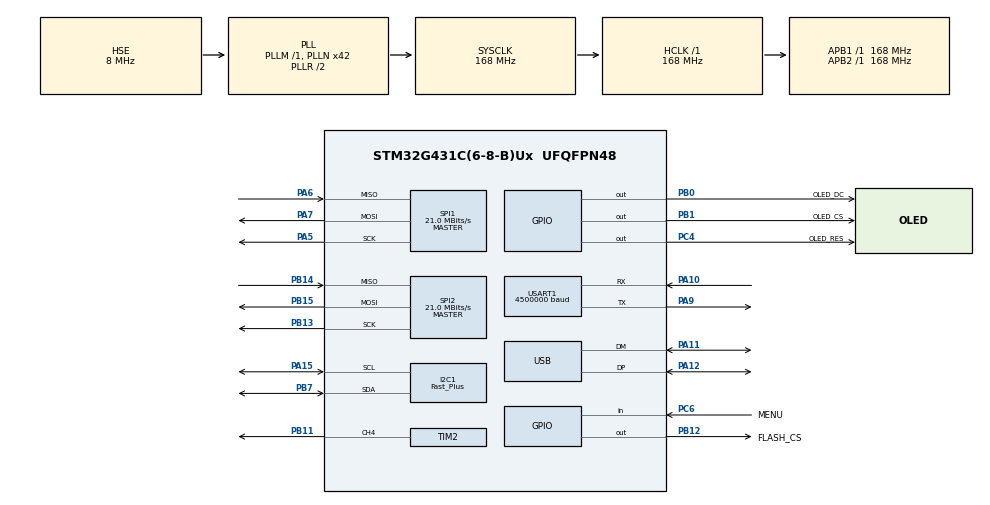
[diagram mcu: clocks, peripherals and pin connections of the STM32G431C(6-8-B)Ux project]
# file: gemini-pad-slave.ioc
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ADC1.Channel-0\#ChannelRegularConversion=ADC_CHANNEL_TEMPSENSOR_ADC1
ADC1.NbrOfConversionFlag=1
ADC1.OffsetNumber-0\#ChannelRegularConversion=ADC_OFFSET_NONE
ADC1.Rank-0\#ChannelRegularConversion=1
ADC1.SamplingTime-0\#ChannelRegularConversion=ADC_SAMPLETIME_2CYCLES_5
ADC1.master=1
Dma.Request0=USART1_RX
Dma.Request1=USART1_TX
Dma.USART1_RX.0.Direction=DMA_PERIPH_TO_MEMORY
Dma.USART1_RX.0.EventEnable=DISABLE
Dma.USART1_RX.0.Instance=DMA1_Channel1
Dma.USART1_RX.0.MemDataAlignment=DMA_MDATAALIGN_BYTE
Dma.USART1_RX.0.MemInc=DMA_MINC_ENABLE
Dma.USART1_RX.0.Mode=DMA_NORMAL
Dma.USART1_RX.0.PeriphDataAlignment=DMA_PDATAALIGN_BYTE
Dma.USART1_RX.0.PeriphInc=DMA_PINC_DISABLE
Dma.USART1_RX.0.Polarity=HAL_DMAMUX_REQ_GEN_RISING
Dma.USART1_RX.0.Priority=DMA_PRIORITY_LOW
Dma.USART1_RX.0.RequestNumber=1
Dma.USART1_RX.0.SignalID=NONE
Dma.USART1_RX.0.SyncEnable=DISABLE
Dma.USART1_RX.0.SyncPolarity=HAL_DMAMUX_SYNC_NO_EVENT
Dma.USART1_RX.0.SyncRequestNumber=1
Dma.USART1_RX.0.SyncSignalID=NONE
Dma.USART1_TX.1.Direction=DMA_MEMORY_TO_PERIPH
Dma.USART1_TX.1.EventEnable=DISABLE
Dma.USART1_TX.1.Instance=DMA1_Channel2
Dma.USART1_TX.1.MemDataAlignment=DMA_MDATAALIGN_BYTE
Dma.USART1_TX.1.MemInc=DMA_MINC_ENABLE
Dma.USART1_TX.1.Mode=DMA_NORMAL
Dma.USART1_TX.1.PeriphDataAlignment=DMA_PDATAALIGN_BYTE
Dma.USART1_TX.1.PeriphInc=DMA_PINC_DISABLE
Dma.USART1_TX.1.Polarity=HAL_DMAMUX_REQ_GEN_RISING
Dma.USART1_TX.1.Priority=DMA_PRIORITY_LOW
Dma.USART1_TX.1.RequestNumber=1
Dma.USART1_TX.1.SignalID=NONE
Dma.USART1_TX.1.SyncEnable=DISABLE
Dma.USART1_TX.1.SyncPolarity=HAL_DMAMUX_SYNC_NO_EVENT
Dma.USART1_TX.1.SyncRequestNumber=1
Dma.USART1_TX.1.SyncSignalID=NONE
I2C1.CustomTiming=Disabled
I2C1.I2C_Speed_Mode=I2C_Fast_Plus
I2C1.Timing=0x00802F62
Mcu.Family=STM32G4
Mcu.Name=STM32G431C(6-8-B)Ux
Mcu.Package=UFQFPN48
NVIC.DMA1_Channel1_IRQn=true\:0\:0\:false\:false\:true\:false\:true\:true
NVIC.DMA1_Channel2_IRQn=true\:0\:0\:false\:false\:true\:false\:true\:true
NVIC.PriorityGroup=NVIC_PRIORITYGROUP_4
NVIC.TIM6_DAC_IRQn=true\:0\:0\:false\:false\:true\:true\:true\:true
NVIC.TIM7_IRQn=true\:0\:0\:false\:false\:true\:true\:true\:true
NVIC.USART1_IRQn=true\:0\:0\:false\:false\:true\:true\:true\:true
NVIC.USB_LP_IRQn=true\:0\:0\:false\:false\:true\:false\:true\:true
PA10.Mode=Multiprocessor_communication
PA10.Signal=USART1_RX
PA11.Mode=Device
PA11.Signal=USB_DM
PA12.Mode=Device
PA12.Signal=USB_DP
PA13.Mode=Serial_Wire
PA13.Signal=SYS_JTMS-SWDIO
PA14.Mode=Serial_Wire
PA14.Signal=SYS_JTCK-SWCLK
PA15.Mode=I2C
PA15.Signal=I2C1_SCL
PA5.Mode=Full_Duplex_Master
PA5.Signal=SPI1_SCK
PA6.Mode=Full_Duplex_Master
PA6.Signal=SPI1_MISO
PA7.Mode=Full_Duplex_Master
PA7.Signal=SPI1_MOSI
PA9.Mode=Multiprocessor_communication
PA9.Signal=USART1_TX
PB0.GPIO_Label=OLED_DC
PB0.Signal=GPIO_Output
PB1.GPIO_Label=OLED_CS
PB1.Signal=GPIO_Output
PB11.Signal=S_TIM2_CH4
PB12.GPIO_Label=FLASH_CS
PB12.Signal=GPIO_Output
PB13.Mode=Full_Duplex_Master
PB13.Signal=SPI2_SCK
PB14.Mode=Full_Duplex_Master
PB14.Signal=SPI2_MISO
PB15.Mode=Full_Duplex_Master
PB15.Signal=SPI2_MOSI
PB7.Mode=I2C
PB7.Signal=I2C1_SDA
PC4.GPIO_Label=OLED_RES
PC4.Signal=GPIO_Output
PC6.GPIO_Label=MENU
PC6.GPIO_PuPd=GPIO_PULLDOWN
PC6.Signal=GPIO_Input
PF0-OSC_IN.Mode=HSE-External-Oscillator
PF0-OSC_IN.Signal=RCC_OSC_IN
PF1-OSC_OUT.Mode=HSE-External-Oscillator
PF1-OSC_OUT.Signal=RCC_OSC_OUT
ProjectManager.HeapSize=0x200
ProjectManager.StackSize=0x400
ProjectManager.TargetToolchain=STM32CubeIDE
RCC.ADC12Freq_Value=168000000
RCC.AHBFreq_Value=168000000
RCC.APB1Freq_Value=168000000
RCC.APB1TimFreq_Value=168000000
RCC.APB2Freq_Value=168000000
RCC.APB2TimFreq_Value=168000000
RCC.CK48CLockSelection=RCC_USBCLKSOURCE_HSI48
RCC.CortexFreq_Value=168000000
RCC.EXTERNAL_CLOCK_VALUE=12288000
RCC.HCLKFreq_Value=168000000
RCC.HSE_VALUE=8000000
RCC.HSI48_VALUE=48000000
RCC.HSI_VALUE=16000000
RCC.LSE_VALUE=32768
RCC.PLLN=42
RCC.PLLSourceVirtual=RCC_PLLSOURCE_HSE
RCC.SYSCLKFreq_VALUE=168000000
RCC.SYSCLKSource=RCC_SYSCLKSOURCE_PLLCLK
RCC.USBFreq_Value=48000000
RCC.VCOOutputFreq_Value=336000000
SH.S_TIM2_CH4.0=TIM2_CH4,PWM Generation4 CH4
SPI1.BaudRatePrescaler=SPI_BAUDRATEPRESCALER_8
SPI1.CLKPhase=SPI_PHASE_2EDGE
SPI1.CLKPolarity=SPI_POLARITY_HIGH
SPI1.CalculateBaudRate=21.0 MBits/s
SPI1.DataSize=SPI_DATASIZE_8BIT
SPI1.Direction=SPI_DIRECTION_2LINES
SPI1.Mode=SPI_MODE_MASTER
SPI1.VirtualType=VM_MASTER
SPI2.BaudRatePrescaler=SPI_BAUDRATEPRESCALER_8
SPI2.CalculateBaudRate=21.0 MBits/s
SPI2.Direction=SPI_DIRECTION_2LINES
SPI2.Mode=SPI_MODE_MASTER
SPI2.VirtualType=VM_MASTER
TIM2.Channel-PWM\ Generation4\ CH4=TIM_CHANNEL_4
TIM6.PeriodNoDither=10000-1
TIM6.Prescaler=16800-1
TIM7.PeriodNoDither=10000-1
TIM7.Prescaler=100-1
USART1.BaudRate=4500000
USART1.Parity=PARITY_EVEN
USART1.VirtualMode-Multiprocessor_communication=VM_ASYNC
USART1.WordLength=WORDLENGTH_9B
USB_DEVICE.CLASS_NAME_FS=CDC
USB_DEVICE.PID_CDC_FS=21565
USB_DEVICE.VirtualMode=Cdc
USB_DEVICE.VirtualModeFS=Cdc_FS
VP_ADC1_TempSens_Input.Mode=IN-TempSens
VP_TIM6_VS_ClockSourceINT.Mode=Enable_Timer
VP_TIM7_VS_ClockSourceINT.Mode=Enable_Timer
VP_USB_DEVICE_VS_USB_DEVICE_CDC_FS.Mode=CDC_FS
board=custom

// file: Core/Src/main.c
/* USER CODE BEGIN Header */
/**
  ******************************************************************************
  * @file           : main.c
  * @brief          : Main program body
  ******************************************************************************
  * @attention
  *
  * Copyright (c) 2023 STMicroelectronics.
  * All rights reserved.
  *
  * This software is licensed under terms that can be found in the LICENSE file
  * in the root directory of this software component.
  * If no LICENSE file comes with this software, it is provided AS-IS.
  *
  ******************************************************************************
  */
/* USER CODE END Header */
#include "main.h"
#include "adc.h"
#include "dma.h"
#include "i2c.h"
#include "spi.h"
#include "tim.h"
#include "usart.h"
#include "usb_device.h"
#include "gpio.h"

/* USER CODE BEGIN Includes */

#include "stdio.h"
#include "stdlib.h"
#include "fezui.h"
#include "fezui_var.h"
#include "display.h"
#include "communication.h"
#include "driver_w25qxx_advance.h"
/* USER CODE END Includes */

void SystemClock_Config(void);

/* USER CODE BEGIN 0 */

/**
 * @brief  This function provides a delay (in microseconds)
 * @param  microseconds: delay in microseconds
 */
void DWT_Delay_us(volatile uint32_t microseconds)
{
  uint32_t clk_cycle_start = DWT->CYCCNT;

  /* Go to number of cycles for system */
  microseconds *= (HAL_RCC_GetHCLKFreq() / 1000000);

  /* Delay till end */
  while ((DWT->CYCCNT - clk_cycle_start) < microseconds);
}
/* USER CODE END 0 */

int main(void)
{

  /* MCU Configuration--------------------------------------------------------*/

  /* Reset of all peripherals, Initializes the Flash interface and the Systick. */
  HAL_Init();

  /* Configure the system clock */
  SystemClock_Config();

  /* Initialize all configured peripherals */
  MX_GPIO_Init();
  MX_DMA_Init();
  MX_I2C1_Init();
  MX_SPI1_Init();
  MX_SPI2_Init();
  MX_USART1_UART_Init();
  MX_TIM2_Init();
  MX_USB_Device_Init();
  MX_ADC1_Init();
  MX_TIM6_Init();
  MX_TIM7_Init();
  /* USER CODE BEGIN 2 */
  w25qxx_advance_init(W25Q128, W25QXX_INTERFACE_SPI, W25QXX_BOOL_FALSE);
  fezui_init();
  HAL_ADCEx_Calibration_Start(&hadc1, ADC_SINGLE_ENDED);
  //HAL_TIM_Base_Start_IT(&htim3);
  HAL_TIM_Base_Start_IT(&htim6);
  HAL_TIM_Base_Start_IT(&htim7);
  HAL_ADC_Start_DMA(&hadc1, &fezui_temp_raw, 1);

  Communication_Enable(&huart1,USART1_RX_Buffer,BUFFER_LENGTH);

  /* USER CODE END 2 */

  /* Infinite loop */
  /* USER CODE BEGIN WHILE */
  while (1)
  {
      fezui_render_handler();
    /* USER CODE END WHILE */

  }
}

void SystemClock_Config(void)
{
  RCC_OscInitTypeDef RCC_OscInitStruct = {0};
  RCC_ClkInitTypeDef RCC_ClkInitStruct = {0};

  /** Configure the main internal regulator output voltage
  */
  HAL_PWREx_ControlVoltageScaling(PWR_REGULATOR_VOLTAGE_SCALE1_BOOST);

  /** Initializes the RCC Oscillators according to the specified parameters
  * in the RCC_OscInitTypeDef structure.
  */
  RCC_OscInitStruct.OscillatorType = RCC_OSCILLATORTYPE_HSI48|RCC_OSCILLATORTYPE_HSE;
  RCC_OscInitStruct.HSEState = RCC_HSE_ON;
  RCC_OscInitStruct.HSI48State = RCC_HSI48_ON;
  RCC_OscInitStruct.PLL.PLLState = RCC_PLL_ON;
  RCC_OscInitStruct.PLL.PLLSource = RCC_PLLSOURCE_HSE;
  RCC_OscInitStruct.PLL.PLLM = RCC_PLLM_DIV1;
  RCC_OscInitStruct.PLL.PLLN = 42;
  RCC_OscInitStruct.PLL.PLLP = RCC_PLLP_DIV2;
  RCC_OscInitStruct.PLL.PLLQ = RCC_PLLQ_DIV2;
  RCC_OscInitStruct.PLL.PLLR = RCC_PLLR_DIV2;
  if (HAL_RCC_OscConfig(&RCC_OscInitStruct) != HAL_OK)
  {
    Error_Handler();
  }

  /** Initializes the CPU, AHB and APB buses clocks
  */
  RCC_ClkInitStruct.ClockType = RCC_CLOCKTYPE_HCLK|RCC_CLOCKTYPE_SYSCLK
                              |RCC_CLOCKTYPE_PCLK1|RCC_CLOCKTYPE_PCLK2;
  RCC_ClkInitStruct.SYSCLKSource = RCC_SYSCLKSOURCE_PLLCLK;
  RCC_ClkInitStruct.AHBCLKDivider = RCC_SYSCLK_DIV1;
  RCC_ClkInitStruct.APB1CLKDivider = RCC_HCLK_DIV1;
  RCC_ClkInitStruct.APB2CLKDivider = RCC_HCLK_DIV1;

  if (HAL_RCC_ClockConfig(&RCC_ClkInitStruct, FLASH_LATENCY_4) != HAL_OK)
  {
    Error_Handler();
  }
}

/* USER CODE BEGIN 4 */

void HAL_TIM_PeriodElapsedCallback(TIM_HandleTypeDef *htim)
{
    if (htim->Instance == TIM7)
    {
        fezui_timer_handler();
        //HAL_IWDG_Refresh(&hiwdg);
    }
    if (htim->Instance == TIM6)
    {
        sprintf(fpsstr, "%3ld", fezui_fps);
        sprintf(comstr, "%4ld", USART1_RX_Count);
        if (fezui.screensaver_countdown)
            fezui.screensaver_countdown--;
        lefl_loop_array_push_back(&KPS_history, UI_KPSMaximumPerSecond);
        if(USART1_RX_Count<500)
        {
            __HAL_UART_CLEAR_IDLEFLAG(&huart1);
            HAL_UART_DMAStop(&huart1);
            HAL_UART_DeInit(&huart1);
            MX_USART1_UART_Init();
            Communication_Enable(&huart1,USART1_RX_Buffer,BUFFER_LENGTH);
        }
        USART1_RX_Count=0;
        fezui_fps = 0;
        UI_KPSMaximumPerSecond = 0;
        fezui_run_time++;
        //fezui_save_counts();
    }
}
/* USER CODE END 4 */

void Error_Handler(void)
{
  __disable_irq();
  while (1)
  {
  }
}
